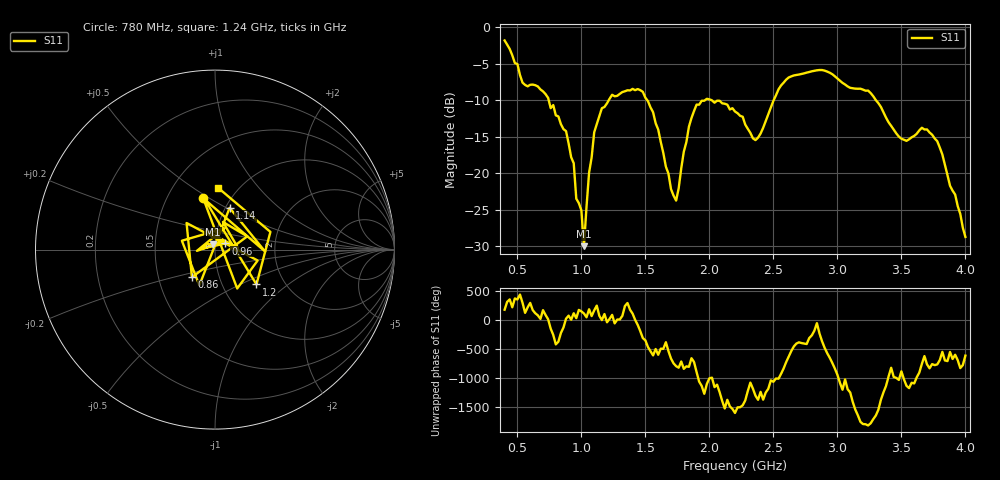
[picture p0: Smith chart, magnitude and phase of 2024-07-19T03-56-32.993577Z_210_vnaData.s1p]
!Created with skrf (http://scikit-rf.org).
# Hz S RI R 50.0
!freq ReS11 ImS11
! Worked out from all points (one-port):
!   181 points, 400 MHz to 4 GHz, reference 50 ohm
!   lowest |S11| = -30.0 dB at 1.02 GHz (marker M1), VSWR 1.07, Z = 48.8 + j2.89 ohm
!   |S11| at or under -10 dB: 744.7 MHz to 1.213 GHz (468.5 MHz wide, 47.9 % of centre); 2.02 GHz to 2.502 GHz (482.2 MHz wide, 21.3 % of centre); 3.302 GHz to end of sweep (the widest 3 of 4)
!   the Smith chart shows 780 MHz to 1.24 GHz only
!   S11 on the Smith chart (normalised r, x): 780 MHz: 0.75, +0.47; 860 MHz: 0.74, -0.24; 960 MHz: 1.12, +0.08; 1.14 GHz: 1.05, +0.52; 1.2 GHz: 1.45, -0.62; 1.24 GHz: 0.81, +0.64
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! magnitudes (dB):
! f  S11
! 400 MHz  -1.8
! 540 MHz  -7.6
! 780 MHz  -10.7
! 860 MHz  -14.0
! 940 MHz  -18.6
! 960 MHz  -23.5
! 1 GHz  -25.1
! 1.02 GHz  -30.0
! 1.06 GHz  -19.9
! 1.14 GHz  -12.2
! 1.2 GHz  -10.4
! 1.24 GHz  -9.2
! 1.3 GHz  -9.1
! 1.48 GHz  -8.8
! 1.6 GHz  -14.0
! 1.7 GHz  -22.2
! 1.76 GHz  -22.1
! 1.84 GHz  -13.6
! 1.9 GHz  -10.6
! 2.2 GHz  -11.5
! 2.36 GHz  -15.5
! 2.66 GHz  -6.6
! 3.1 GHz  -8.3
! 3.24 GHz  -8.7
! 3.56 GHz  -15.3
! 3.66 GHz  -13.8
! 3.78 GHz  -15.6
! 4 GHz  -28.7
